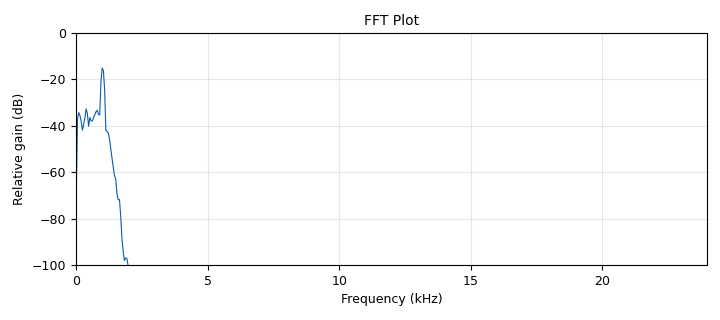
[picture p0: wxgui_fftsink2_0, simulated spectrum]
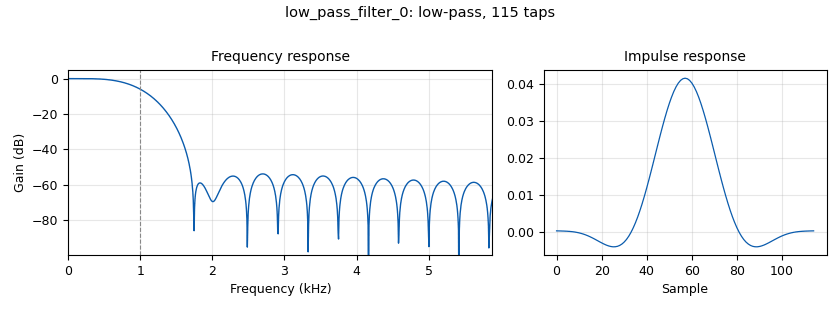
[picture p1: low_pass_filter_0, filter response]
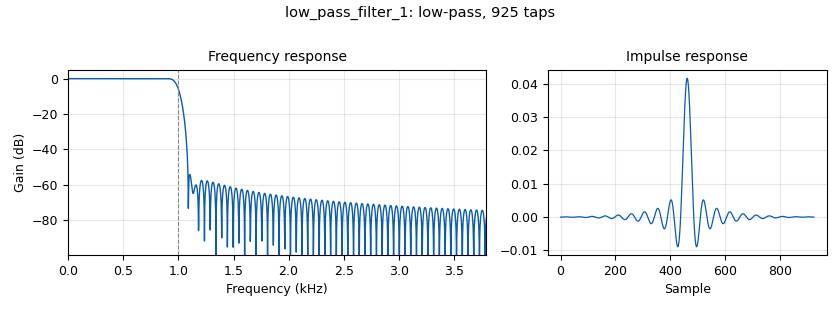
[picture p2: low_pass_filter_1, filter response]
<?xml version='1.0' encoding='utf-8'?>
<flow_graph>
<block>
<key>analog_sig_source_x</key>
<param><key>id</key><value>analog_sig_source_x_0</value></param>
<param><key>type</key><value>float</value></param>
<param><key>samp_rate</key><value>samp_rate</value></param>
<param><key>waveform</key><value>analog.GR_COS_WAVE</value></param>
<param><key>freq</key><value>freq</value></param>
<param><key>amp</key><value>1</value></param>
<param><key>offset</key><value>0</value></param>
</block>
<block>
<key>variable</key>
<param><key>id</key><value>samp_rate</value></param>
<param><key>value</key><value>48000</value></param>
</block>
<block>
<key>low_pass_filter</key>
<param><key>id</key><value>low_pass_filter_0</value></param>
<param><key>type</key><value>fir_filter_fff</value></param>
<param><key>decim</key><value>1</value></param>
<param><key>gain</key><value>1</value></param>
<param><key>samp_rate</key><value>samp_rate</value></param>
<param><key>cutoff_freq</key><value>freq_cutoff</value></param>
<param><key>width</key><value>freq_trans</value></param>
<param><key>win</key><value>firdes.WIN_HAMMING</value></param>
</block>
<block>
<key>wxgui_fftsink2</key>
<param><key>id</key><value>wxgui_fftsink2_0</value></param>
<param><key>type</key><value>float</value></param>
<param><key>title</key><value>FFT Plot</value></param>
<param><key>samp_rate</key><value>samp_rate</value></param>
<param><key>baseband_freq</key><value>0</value></param>
<param><key>y_per_div</key><value>10</value></param>
<param><key>y_divs</key><value>10</value></param>
<param><key>ref_level</key><value>0</value></param>
<param><key>ref_scale</key><value>2.0</value></param>
<param><key>fft_size</key><value>1024</value></param>
<param><key>fft_rate</key><value>15</value></param>
<param><key>peak_hold</key><value>False</value></param>
<param><key>average</key><value>False</value></param>
<param><key>avg_alpha</key><value>0</value></param>
<param><key>win</key><value>None</value></param>
<param><key>freqvar</key><value>None</value></param>
</block>
<block>
<key>audio_sink</key>
<param><key>id</key><value>audio_sink_0</value></param>
<param><key>samp_rate</key><value>samp_rate</value></param>
</block>
<block>
<key>variable_slider</key>
<param><key>id</key><value>noise_span</value></param>
<param><key>label</key><value></value></param>
<param><key>value</key><value>1e3</value></param>
<param><key>min</key><value>10</value></param>
<param><key>max</key><value>1e4</value></param>
<param><key>num_steps</key><value>1000</value></param>
<param><key>style</key><value>wx.SL_HORIZONTAL</value></param>
<param><key>converver</key><value>float_converter</value></param>
</block>
<block>
<key>variable_slider</key>
<param><key>id</key><value>noise_center</value></param>
<param><key>label</key><value></value></param>
<param><key>value</key><value>1e3</value></param>
<param><key>min</key><value>10</value></param>
<param><key>max</key><value>1e4</value></param>
<param><key>num_steps</key><value>1000</value></param>
<param><key>style</key><value>wx.SL_HORIZONTAL</value></param>
<param><key>converver</key><value>float_converter</value></param>
</block>
<block>
<key>variable_slider</key>
<param><key>id</key><value>noise_amplitude</value></param>
<param><key>label</key><value></value></param>
<param><key>value</key><value>1</value></param>
<param><key>min</key><value>0</value></param>
<param><key>max</key><value>10</value></param>
<param><key>num_steps</key><value>1000</value></param>
<param><key>style</key><value>wx.SL_HORIZONTAL</value></param>
<param><key>converver</key><value>float_converter</value></param>
</block>
<block>
<key>analog_fastnoise_source_x</key>
<param><key>id</key><value>analog_fastnoise_source_x_0</value></param>
<param><key>type</key><value>float</value></param>
<param><key>noise_type</key><value>analog.GR_GAUSSIAN</value></param>
<param><key>amp</key><value>noise_amplitude</value></param>
<param><key>seed</key><value>0</value></param>
<param><key>samples</key><value>8192</value></param>
</block>
<block>
<key>analog_sig_source_x</key>
<param><key>id</key><value>analog_sig_source_x_1</value></param>
<param><key>type</key><value>float</value></param>
<param><key>samp_rate</key><value>samp_rate</value></param>
<param><key>waveform</key><value>analog.GR_COS_WAVE</value></param>
<param><key>freq</key><value>noise_center</value></param>
<param><key>amp</key><value>1</value></param>
<param><key>offset</key><value>0</value></param>
</block>
<block>
<key>low_pass_filter</key>
<param><key>id</key><value>low_pass_filter_1</value></param>
<param><key>type</key><value>fir_filter_fff</value></param>
<param><key>decim</key><value>1</value></param>
<param><key>gain</key><value>1</value></param>
<param><key>samp_rate</key><value>samp_rate</value></param>
<param><key>cutoff_freq</key><value>noise_span</value></param>
<param><key>width</key><value>noise_span/8</value></param>
<param><key>win</key><value>firdes.WIN_HAMMING</value></param>
</block>
<block>
<key>blocks_multiply_xx</key>
<param><key>id</key><value>blocks_multiply_xx_0</value></param>
<param><key>type</key><value>float</value></param>
</block>
<block>
<key>blocks_add_xx</key>
<param><key>id</key><value>blocks_add_xx_0</value></param>
<param><key>type</key><value>float</value></param>
</block>
<block>
<key>options</key>
<param><key>id</key><value>audio_2_top_block</value></param>
<param><key>author</key><value>Wylie Standage-Beier</value></param>
<param><key>description</key><value>Example of noise in the spectrum</value></param>
<param><key>generate_options</key><value>wx_gui</value></param>
<param><key>category</key><value>Custom</value></param>
</block>
<block>
<key>variable_slider</key>
<param><key>id</key><value>freq</value></param>
<param><key>label</key><value>Frequency</value></param>
<param><key>value</key><value>1e3</value></param>
<param><key>min</key><value>0</value></param>
<param><key>max</key><value>1e4</value></param>
<param><key>num_steps</key><value>1000</value></param>
<param><key>style</key><value>wx.SL_HORIZONTAL</value></param>
<param><key>converver</key><value>float_converter</value></param>
</block>
<block>
<key>variable_slider</key>
<param><key>id</key><value>freq_cutoff</value></param>
<param><key>label</key><value>Frequency Cut Off</value></param>
<param><key>value</key><value>1e3</value></param>
<param><key>min</key><value>10</value></param>
<param><key>max</key><value>1e4</value></param>
<param><key>num_steps</key><value>1000</value></param>
<param><key>style</key><value>wx.SL_HORIZONTAL</value></param>
<param><key>converver</key><value>float_converter</value></param>
</block>
<block>
<key>variable_slider</key>
<param><key>id</key><value>freq_trans</value></param>
<param><key>label</key><value>Frequency transision window</value></param>
<param><key>value</key><value>1e3</value></param>
<param><key>min</key><value>10</value></param>
<param><key>max</key><value>1e4</value></param>
<param><key>num_steps</key><value>1000</value></param>
<param><key>style</key><value>wx.SL_HORIZONTAL</value></param>
<param><key>converver</key><value>float_converter</value></param>
</block>
<connection><source_block_id>low_pass_filter_0</source_block_id><sink_block_id>wxgui_fftsink2_0</sink_block_id><source_key>0</source_key><sink_key>0</sink_key></connection>
<connection><source_block_id>low_pass_filter_0</source_block_id><sink_block_id>audio_sink_0</sink_block_id><source_key>0</source_key><sink_key>0</sink_key></connection>
<connection><source_block_id>analog_sig_source_x_0</source_block_id><sink_block_id>blocks_add_xx_0</sink_block_id><source_key>0</source_key><sink_key>0</sink_key></connection>
<connection><source_block_id>blocks_add_xx_0</source_block_id><sink_block_id>low_pass_filter_0</sink_block_id><source_key>0</source_key><sink_key>0</sink_key></connection>
<connection><source_block_id>analog_fastnoise_source_x_0</source_block_id><sink_block_id>low_pass_filter_1</sink_block_id><source_key>0</source_key><sink_key>0</sink_key></connection>
<connection><source_block_id>low_pass_filter_1</source_block_id><sink_block_id>blocks_multiply_xx_0</sink_block_id><source_key>0</source_key><sink_key>0</sink_key></connection>
<connection><source_block_id>analog_sig_source_x_1</source_block_id><sink_block_id>blocks_multiply_xx_0</sink_block_id><source_key>0</source_key><sink_key>1</sink_key></connection>
<connection><source_block_id>blocks_multiply_xx_0</source_block_id><sink_block_id>blocks_add_xx_0</sink_block_id><source_key>0</source_key><sink_key>1</sink_key></connection>
</flow_graph>
